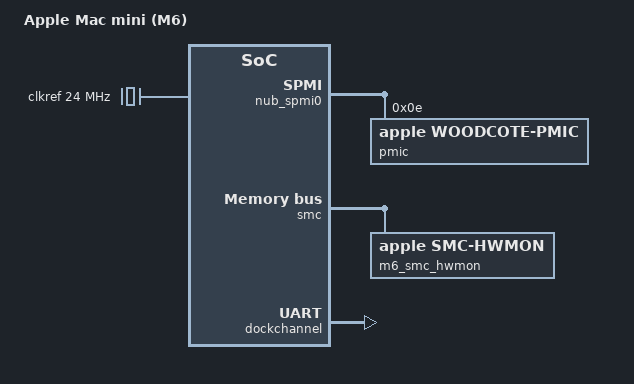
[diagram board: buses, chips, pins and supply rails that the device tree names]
// SPDX-License-Identifier: GPL-2.0+ OR MIT
/*
 * Apple Mac mini (M6), J873g.
 *
 * Initial RAM boot resources measured on J873g/T8152.
 * The loader supplies usable memory, CPU release addresses and framebuffer
 * geometry. Peripheral power management is left with the boot firmware.
 */
/dts-v1/;

#include <dt-bindings/interrupt-controller/apple-aic.h>
#include <dt-bindings/interrupt-controller/irq.h>
#include <dt-bindings/spmi/spmi.h>

/ {
	compatible = "apple,j873g", "apple,t8152", "apple,arm-platform";
	model = "Apple Mac mini (M6)";
	chassis-type = "desktop";

	#address-cells = <2>;
	#size-cells = <2>;
	interrupt-parent = <&aic>;

	/* Retain the RAM handoff and secondary CPU park contract. */
	aurora,minimal-boot;

	aliases {
		serial0 = &dockchannel;
	};

	chosen {
		#address-cells = <2>;
		#size-cells = <2>;
		ranges;

		stdout-path = "serial0:1500000n8";

		framebuffer0: framebuffer@0 {
			compatible = "apple,simple-framebuffer", "simple-framebuffer";
			reg = <0 0 0 0>; /* Filled by the loader. */
			status = "disabled";
		};
	};

	reserved-memory {
		#address-cells = <2>;
		#size-cells = <2>;
		ranges;
		smc-firmware@30de00000 {
			reg = <3 0x0de00000 0 0x120000>;
			no-map;
		};
	};

	memory@10000000000 {
		device_type = "memory";
		reg = <0x100 0 0 0>; /* Filled by the loader. */
	};

	cpus {
		#address-cells = <2>;
		#size-cells = <0>;

		cpu0: cpu@0 {
			compatible = "apple,t8152-e";
			device_type = "cpu";
			reg = <0 0x0>;
			enable-method = "spin-table";
			cpu-release-addr = <0 0>; /* Filled by the loader. */
			operating-points-v2 = <&m6_e_opp>;
			performance-domains = <&m6_e_cpufreq>;
			#cooling-cells = <2>;
		};

		cpu1: cpu@1 {
			compatible = "apple,t8152-e";
			device_type = "cpu";
			reg = <0 0x1>;
			enable-method = "spin-table";
			cpu-release-addr = <0 0>; /* Filled by the loader. */
			operating-points-v2 = <&m6_e_opp>;
			performance-domains = <&m6_e_cpufreq>;
			#cooling-cells = <2>;
		};

		cpu2: cpu@2 {
			compatible = "apple,t8152-e";
			device_type = "cpu";
			reg = <0 0x2>;
			enable-method = "spin-table";
			cpu-release-addr = <0 0>; /* Filled by the loader. */
			operating-points-v2 = <&m6_e_opp>;
			performance-domains = <&m6_e_cpufreq>;
			#cooling-cells = <2>;
		};

		cpu3: cpu@3 {
			compatible = "apple,t8152-e";
			device_type = "cpu";
			reg = <0 0x3>;
			enable-method = "spin-table";
			cpu-release-addr = <0 0>; /* Filled by the loader. */
			operating-points-v2 = <&m6_e_opp>;
			performance-domains = <&m6_e_cpufreq>;
			#cooling-cells = <2>;
		};

		cpu4: cpu@4 {
			compatible = "apple,t8152-e";
			device_type = "cpu";
			reg = <0 0x4>;
			enable-method = "spin-table";
			cpu-release-addr = <0 0>; /* Filled by the loader. */
			operating-points-v2 = <&m6_e_opp>;
			performance-domains = <&m6_e_cpufreq>;
			#cooling-cells = <2>;
		};

		cpu5: cpu@5 {
			compatible = "apple,t8152-e";
			device_type = "cpu";
			reg = <0 0x5>;
			enable-method = "spin-table";
			cpu-release-addr = <0 0>; /* Filled by the loader. */
			operating-points-v2 = <&m6_e_opp>;
			performance-domains = <&m6_e_cpufreq>;
			#cooling-cells = <2>;
		};

		cpu6: cpu@10100 {
			compatible = "apple,t8152-p";
			device_type = "cpu";
			reg = <0 0x10100>;
			enable-method = "spin-table";
			cpu-release-addr = <0 0>; /* Filled by the loader. */
			operating-points-v2 = <&m6_pm_opp>;
			performance-domains = <&m6_pm_cpufreq>;
			#cooling-cells = <2>;
		};

		cpu7: cpu@10101 {
			compatible = "apple,t8152-p";
			device_type = "cpu";
			reg = <0 0x10101>;
			enable-method = "spin-table";
			cpu-release-addr = <0 0>; /* Filled by the loader. */
			operating-points-v2 = <&m6_pm_opp>;
			performance-domains = <&m6_pm_cpufreq>;
			#cooling-cells = <2>;
		};

		cpu8: cpu@40102 {
			compatible = "apple,t8152-m";
			device_type = "cpu";
			reg = <0 0x40102>;
			enable-method = "spin-table";
			cpu-release-addr = <0 0>; /* Filled by the loader. */
			operating-points-v2 = <&m6_pm_opp>;
			performance-domains = <&m6_pm_cpufreq>;
			#cooling-cells = <2>;
		};

		cpu9: cpu@40103 {
			compatible = "apple,t8152-m";
			device_type = "cpu";
			reg = <0 0x40103>;
			enable-method = "spin-table";
			cpu-release-addr = <0 0>; /* Filled by the loader. */
			operating-points-v2 = <&m6_pm_opp>;
			performance-domains = <&m6_pm_cpufreq>;
			#cooling-cells = <2>;
		};

		cpu10: cpu@40104 {
			compatible = "apple,t8152-m";
			device_type = "cpu";
			reg = <0 0x40104>;
			enable-method = "spin-table";
			cpu-release-addr = <0 0>; /* Filled by the loader. */
			operating-points-v2 = <&m6_pm_opp>;
			performance-domains = <&m6_pm_cpufreq>;
			#cooling-cells = <2>;
		};

		cpu11: cpu@40105 {
			compatible = "apple,t8152-m";
			device_type = "cpu";
			reg = <0 0x40105>;
			enable-method = "spin-table";
			cpu-release-addr = <0 0>; /* Filled by the loader. */
			operating-points-v2 = <&m6_pm_opp>;
			performance-domains = <&m6_pm_cpufreq>;
			#cooling-cells = <2>;
		};
	};

	m6_e_opp: opp-table-e {
		compatible = "operating-points-v2";
		opp-shared;
		opp-972000000 {
			opp-hz = /bits/ 64 <972000000>;
			opp-level = <2>;
		};
		opp-1152000000 {
			opp-hz = /bits/ 64 <1152000000>;
			opp-level = <3>;
		};
	};
	m6_pm_opp: opp-table-pm {
		compatible = "operating-points-v2";
		opp-shared;
		opp-1440000000 {
			opp-hz = /bits/ 64 <1440000000>;
			opp-level = <2>;
		};
		opp-1728000000 {
			opp-hz = /bits/ 64 <1728000000>;
			opp-level = <3>;
		};
	};

	/* The 24 MHz timebase (ADT timebase-frequency), as on T8103. */
	clkref: clock-ref {
		compatible = "fixed-clock";
		#clock-cells = <0>;
		clock-frequency = <24000000>;
		clock-output-names = "clkref";
	};

	timer {
		compatible = "arm,armv8-timer";
		interrupts = <AIC_FIQ AIC_TMR_GUEST_PHYS IRQ_TYPE_LEVEL_HIGH>,
			     <AIC_FIQ AIC_TMR_GUEST_VIRT IRQ_TYPE_LEVEL_HIGH>,
			     <AIC_FIQ AIC_TMR_HV_PHYS IRQ_TYPE_LEVEL_HIGH>,
			     <AIC_FIQ AIC_TMR_HV_VIRT IRQ_TYPE_LEVEL_HIGH>;
		interrupt-names = "phys", "virt", "hyp-phys", "hyp-virt";
	};

	soc {
		compatible = "simple-bus";
		#address-cells = <2>;
		#size-cells = <2>;
		ranges;
		nonposted-mmio;

		aic: interrupt-controller@301000000 {
			compatible = "apple,t8152-aic3", "apple,t8122-aic3";
			interrupt-controller;
			#interrupt-cells = <3>;
			reg = <3 0x01000000 0 0x1cc000>,
			      <3 0x01040000 0 0x4000>;
			reg-names = "core", "event";
		};

		m6_e_cpufreq: performance-controller@210e20000 {
			compatible = "apple,t8152-cluster-cpufreq";
			reg = <2 0x10e20000 0 0x1000>;
			#performance-domain-cells = <0>;
		};
		m6_pm_cpufreq: performance-controller@211e20000 {
			compatible = "apple,t8152-cluster-cpufreq";
			reg = <2 0x11e20000 0 0x1000>;
			#performance-domain-cells = <0>;
		};

		/*
		 * ADT /arm-io/nub-spmi0 (gen 4) and its primary PMU, pmu-main
		 * ("woodcote", slave 0xe). The boot flags live in the legacy
		 * scratchpad (info-leg_scrpad = 0xf800), laid out as on T8103
		 * and T8140; boot_stage read 0x30 (kernel started) here.
		 */
		nub_spmi0: spmi@308714000 {
			/*
			 * Gen 4: FIFO registers at 0x200 (the block is 0x4000
			 * long); polled, so no interrupts are described yet.
			 */
			compatible = "apple,t8152-spmi", "apple,t8142-spmi";
			reg = <0x3 0x08714000 0x0 0x4000>;
			#address-cells = <2>;
			#size-cells = <0>;

			pmic@e {
				compatible = "apple,woodcote-pmic", "apple,spmi-nvmem";
				reg = <0xe SPMI_USID>;

				nvmem-layout {
					compatible = "fixed-layout";
					#address-cells = <1>;
					#size-cells = <1>;

					boot_stage: boot-stage@f801 {
						reg = <0xf801 0x1>;
					};

					boot_error_count: boot-error-count@f802,0 {
						reg = <0xf802 0x1>;
						bits = <0 4>;
					};

					panic_count: panic-count@f802,4 {
						reg = <0xf802 0x1>;
						bits = <4 4>;
					};

					/* Set before off1, or the machine powers back on. */
					shutdown_flag: shutdown-flag@f80f,3 {
						reg = <0xf80f 0x1>;
						bits = <3 1>;
					};
				};
			};
		};

		/* ADT /arm-io/wdt (wdt,t8152): restart fallback and /dev/watchdog. */
		wdt: watchdog@3082b0000 {
			compatible = "apple,t8152-wdt", "apple,t8103-wdt";
			reg = <3 0x082b0000 0 0x4000>;
			clocks = <&clkref>;
			interrupts = <AIC_IRQ 447 IRQ_TYPE_LEVEL_HIGH>;
		};

		smc_mbox: mailbox@30c710080 {
			compatible = "apple,t8152-smc-mailbox";
			reg = <3 0x0c710080 0 0x80>;
			interrupts = <AIC_IRQ 760 IRQ_TYPE_LEVEL_HIGH>,
				     <AIC_IRQ 759 IRQ_TYPE_LEVEL_HIGH>;
			interrupt-names = "send-empty", "recv-not-empty";
			#mbox-cells = <0>;
		};

		smc: smc@30c600000 {
			compatible = "apple,t8152-smc";
			reg = <3 0x0c600000 0 0x74000>,
			      <3 0x0de00000 0 0x120000>;
			reg-names = "smc", "sram";
			mboxes = <&smc_mbox>;

			/* Power off (MBSE = off1) and restart (MBSE = phra). */
			smc_reboot: reboot {
				compatible = "apple,smc-reboot";
				nvmem-cells = <&shutdown_flag>, <&boot_stage>,
					      <&boot_error_count>, <&panic_count>;
				nvmem-cell-names = "shutdown_flag", "boot_stage",
						   "boot_error_count", "panic_count";
			};

			m6_smc_hwmon: hwmon {
				compatible = "apple,smc-hwmon";
				#thermal-sensor-cells = <1>;

				fan-F0Ac {
					apple,key-id = "F0Ac";
					apple,fan-minimum = "F0Mn";
					apple,fan-maximum = "F0Mx";
					apple,fan-target = "F0Tg";
					apple,fan-mode = "F0md";
					label = "Fan";
				};
			};
		};

		dockchannel: serial@30812c000 {
			compatible = "apple,dockchannel-uart";
			reg = <3 0x0812c000 0 0x4000>,
			      <3 0x08128000 0 0x4000>,
			      <3 0x0810c000 0 0x1000>;
			reg-names = "data", "config", "irq";
			interrupts = <AIC_IRQ 662 IRQ_TYPE_LEVEL_HIGH>;
		};
	};
};

#include "t8152-j873-gpu.dtsi"
#include "t8152-j873-n1.dtsi"

#include "t8152-j873-pmc.dtsi"
#include "t8152-j873-qspi.dtsi"

#include "t8152-peripherals.dtsi"

/* Retain the register view published by this board's live hardware capture. */
&dwc3_0_dart {
	reg = <0x4 0x3020000 0x0 0xc000>,
	      <0x4 0x3040000 0x0 0xc000>;
};

/* Retain the register view published by this board's live hardware capture. */
&dwc3_3_dart {
	reg = <0x4 0x13020000 0x0 0xc000>,
	      <0x4 0x13040000 0x0 0xc000>;
};

/* Retain the register view published by this board's live hardware capture. */
&error_handler {
	reg = <0x2 0x88d80000 0x0 0x40000>,
	      <0x2 0x88980000 0x0 0x8000>,
	      <0x3 0x0 0x0 0x40000>,
	      <0x3 0x728000 0x0 0x4000>,
	      <0x3 0x768000 0x0 0x4000>,
	      <0x3 0x82c8000 0x0 0x4000>,
	      <0x3 0x2000000 0x0 0x1000000>,
	      <0x3 0x700000 0x0 0x1c000>,
	      <0x2 0x20000000 0x0 0x2000000>,
	      <0x2 0x4f000000 0x0 0x8000>,
	      <0x2 0x50000000 0x0 0x8000>,
	      <0x2 0x51000000 0x0 0x8000>,
	      <0x2 0x52000000 0x0 0x8000>,
	      <0x2 0x53000000 0x0 0x8000>,
	      <0x2 0x54000000 0x0 0x8000>,
	      <0x2 0x55000000 0x0 0x8000>,
	      <0x2 0x56000000 0x0 0x8000>,
	      <0x2 0x5f000000 0x0 0x1000000>,
	      <0x2 0x6f000000 0x0 0x1000000>,
	      <0x2 0x57000000 0x0 0x1000000>,
	      <0x2 0x58000000 0x0 0x1000000>,
	      <0x3 0x770000 0x0 0x4000>,
	      <0x3 0x771000 0x0 0x4000>,
	      <0x2 0x5b000000 0x0 0x24000>,
	      <0x3 0x3520000 0x0 0x4000>,
	      <0x3 0x3080000 0x0 0x18000>,
	      <0x3 0x3700000 0x0 0x8000>,
	      <0x3 0x3100000 0x0 0x20000>,
	      <0x3 0x440000 0x0 0x4000>,
	      <0x3 0x444000 0x0 0x4000>,
	      <0x3 0x18008000 0x0 0x4000>,
	      <0x3 0x1800c000 0x0 0x4000>,
	      <0x3 0x2fb48000 0x0 0x4000>,
	      <0x3 0x2fb4c000 0x0 0x4000>,
	      <0x4 0x19a08000 0x0 0x4000>,
	      <0x4 0x19a0c000 0x0 0x4000>,
	      <0x4 0x81a08000 0x0 0x4000>,
	      <0x4 0x81a0c000 0x0 0x4000>,
	      <0x2 0x86288000 0x0 0x4000>,
	      <0x2 0x8628c000 0x0 0x4000>,
	      <0x3 0x2a288000 0x0 0x4000>,
	      <0x3 0x2a28c000 0x0 0x4000>,
	      <0x5 0x2288000 0x0 0x4000>,
	      <0x5 0x228c000 0x0 0x4000>,
	      <0x4 0x85088000 0x0 0x4000>,
	      <0x4 0x8508c000 0x0 0x4000>,
	      <0x2 0x83088000 0x0 0x4000>,
	      <0x2 0x8308c000 0x0 0x4000>,
	      <0x5 0x80f48000 0x0 0x4000>,
	      <0x5 0x80f4c000 0x0 0x4000>,
	      <0x3 0x22008000 0x0 0x4000>,
	      <0x3 0x2200c000 0x0 0x4000>,
	      <0x3 0xa5108000 0x0 0x4000>,
	      <0x3 0xa510c000 0x0 0x4000>,
	      <0x3 0xa75c8000 0x0 0x4000>,
	      <0x3 0xa75cc000 0x0 0x4000>,
	      <0x3 0x31088000 0x0 0x4000>,
	      <0x3 0x3108c000 0x0 0x4000>,
	      <0x3 0xa1388000 0x0 0x4000>,
	      <0x3 0xa138c000 0x0 0x4000>,
	      <0x3 0x8d048000 0x0 0x4000>,
	      <0x3 0x8d04c000 0x0 0x4000>,
	      <0x4 0x5008000 0x0 0x4000>,
	      <0x4 0x500c000 0x0 0x4000>,
	      <0x4 0xd008000 0x0 0x4000>,
	      <0x4 0xd00c000 0x0 0x4000>,
	      <0x3 0x85008000 0x0 0x4000>,
	      <0x3 0x8500c000 0x0 0x4000>,
	      <0x4 0x15008000 0x0 0x4000>,
	      <0x4 0x1500c000 0x0 0x4000>,
	      <0x3 0x16000000 0x0 0x1c000>,
	      <0x3 0x2d700000 0x0 0xf4000>,
	      <0x3 0x2e7c8000 0x0 0x14000>,
	      <0x3 0x2e5c8000 0x0 0x14000>,
	      <0x3 0x10700000 0x0 0x14000>,
	      <0x3 0x11700000 0x0 0x14000>,
	      <0x3 0xc700000 0x0 0x14000>,
	      <0x4 0x19700000 0x0 0x14000>,
	      <0x4 0x81700000 0x0 0x14000>,
	      <0x2 0x86f00000 0x0 0x14000>,
	      <0x3 0x2af00000 0x0 0x14000>,
	      <0x5 0x2f00000 0x0 0x14000>,
	      <0x3 0xf00000 0x0 0x14000>,
	      <0x3 0x3148000 0x0 0x14000>,
	      <0x3 0x3a00000 0x0 0x1c000>,
	      <0x4 0x85548000 0x0 0x14000>,
	      <0x2 0x81700000 0x0 0x14000>,
	      <0x5 0x82700000 0x0 0x14000>,
	      <0x5 0x82f00000 0x0 0x14000>,
	      <0x3 0x21700000 0x0 0x14000>,
	      <0x3 0xa7488000 0x0 0x14000>,
	      <0x3 0x31f00000 0x0 0x14000>,
	      <0x3 0x14700000 0x0 0x14000>,
	      <0x4 0x18000000 0x0 0x8000>,
	      <0x4 0x80000000 0x0 0x8000>,
	      <0x2 0x87000000 0x0 0x8000>,
	      <0x3 0x2b000000 0x0 0x8000>,
	      <0x5 0x3000000 0x0 0x8000>,
	      <0x2 0x80000000 0x0 0x8000>,
	      <0x5 0x81000000 0x0 0x8000>,
	      <0x3 0x23000000 0x0 0x8000>,
	      <0x4 0x0 0x0 0x8000>,
	      <0x4 0x8000000 0x0 0x8000>,
	      <0x3 0x80000000 0x0 0x8000>,
	      <0x4 0x10000000 0x0 0x8000>,
	      <0x4 0x84000000 0x0 0x8000>,
	      <0x3 0x2c000000 0x0 0x8000>,
	      <0x3 0xa4000000 0x0 0x8000>,
	      <0x3 0x8e000000 0x0 0x8000>,
	      <0x3 0x30000000 0x0 0x8000>,
	      <0x3 0x19000000 0x0 0x8000>,
	      <0x3 0xa0000000 0x0 0x8000>;
};

/*
 * The J873g fragments enable and refine nodes of t8152-peripherals.dtsi
 * (the USB, apcie port 2 and dart-sbr DARTs), so they come after it.
 */
#include "t8152-j873-nvme.dtsi"
#include "t8152-j873-usb.dtsi"
#include "t8152-j873-ethernet.dtsi"
#include "t8152-j873-audio.dtsi"
#include "t8152-j873-thermal.dtsi"
